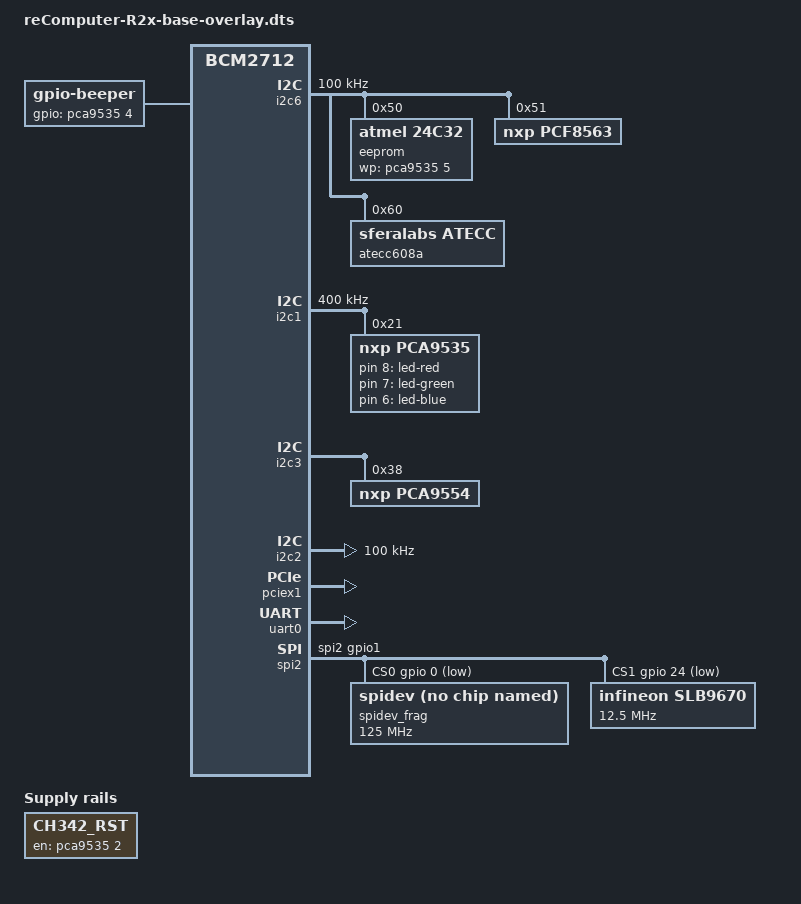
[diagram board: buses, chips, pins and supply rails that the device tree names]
/dts-v1/;
/plugin/;

/* #include "dt-bindings/gpio/gpio.h" */

/ {
    compatible = "brcm,bcm2712";

    fragment@0 {
        target-path="/";
        __overlay__ {
            hardware = "reComputer 2.x";
        };
    };

    fragment@1 {
        target = <&i2c6>;
        __overlay__ {
            status = "okay";
            pinctrl-0 = <&rp1_i2c6_38_39>;
            pinctrl-names = "default";
            clock-frequency = <100000>;
            #address-cells = <1>;
            #size-cells = <0>;

            eeprom@50 {
                compatible = "atmel,24c32";
                reg = <0x50>;
                wp-gpios = <&pca9535 5 0>;
            };

            pcf8563@51 {
                compatible = "nxp,pcf8563";
                reg = <0x51>;
                reset-source;
                /* 0 = 4096Hz, 1 = 64Hz, 2 = 1Hz, 3 = 1/60Hz */
                timer-frequency = <0x02>;
                /* Timeout count, max 255 min 2*/
                default-timeout =  <120>;
                min-hw-heartbeat-ms = <2000>;
            };

            atecc608a@60 {
                compatible = "sferalabs,atecc";
                reg = <0x60>;
                status = "okay";
			};
        };
    };

    fragment@2 {
        target = <&i2c1>;
        __overlay__ {
            status = "okay";
            pinctrl-0 = <&rp1_i2c1_10_11>;
            pinctrl-names = "default";
            clock-frequency = <400000>;
            #address-cells = <1>;
            #size-cells = <0>;

            pca9535: pca@21 {
                compatible = "nxp,pca9535";
                reg = <0x21>;
                status = "okay";

                gpio-controller;
                #gpio-cells = <2>;

                gpio-line-names =
                    "RS485_POWER_EN",
                    "CH344_RST",
                    "CH342_RST",
                    "TPM_RST",
                    "Buzzer_EN",
                    "EEP_WP",
                    "USER_LED_B",
                    "USER_LED_G",
                    "USER_LED_R",
                    "LoRaWAN_SX1302_RST",
                    "LoRaWAN_SX1262_RST",
                    "LoRaWAN_SX1262_CS",
                    "DO_4",
                    "DO_3",
                    "DO_2",
                    "DO_1"
                ;

                RS485_POWER_EN {
                    gpios = <&pca9535 0 0>;
                    output-high;
                    line-name = "RS485_POWER_EN";
                };

                CH344_RST {
                    gpios = <&pca9535 1 0>;
                    output-high;
                    line-name = "CH344_RST";
                };

                CH342_RST {
                    gpios = <&pca9535 2 0>;
                    output-high;
                    line-name = "CH342_RST";
                };

                TPM_RST {
                    gpios = <&pca9535 3 0>;
                    output-high;
                    line-name = "TPM_RST";
                };

                Buzzer_EN {
                    gpios = <&pca9535 4 0>;
                    output-low;
                    line-name = "Buzzer_EN";
                };

                EEP_WP {
                    gpios = <&pca9535 5 0>;
                    output-high;
                    line-name = "EEP_WP";
                };

                USER_LED_B {
                    gpios = <&pca9535 6 0>;
                    output-high;
                    line-name = "USER_LED_B";
                };

                USER_LED_G {
                    gpios = <&pca9535 7 0>;
                    output-high;
                    line-name = "USER_LED_G";
                };

                USER_LED_R {
                    gpios = <&pca9535 8 0>;
                    output-high;
                    line-name = "USER_LED_R";
                };

                LoRaWAN_SX1302_RST {
                    gpios = <&pca9535 9 0>;
                    output-low;
                    line-name = "LoRaWAN_SX1302_RST";
                };

                LoRaWAN_SX1262_RST {
                    gpios = <&pca9535 10 0>;
                    output-low;
                    line-name = "LoRaWAN_SX1262_RST";
                };

                LoRaWAN_SX1262_CS {
                    gpios = <&pca9535 11 0>;
                    output-low;
                    line-name = "LoRaWAN_SX1262_CS";
                };

                DO_4 {
                    gpios = <&pca9535 12 0>;
                    output-low;
                    line-name = "DO_4";
                };

                DO_3 {
                    gpios = <&pca9535 13 0>;
                    output-low;
                    line-name = "DO_3";
                };

                DO_2 {
                    gpios = <&pca9535 14 0>;
                    output-low;
                    line-name = "DO_2";
                };

                DO_1 {
                    gpios = <&pca9535 15 0>;
                    output-low;
                    line-name = "DO_1";
                };
            };
        };
    };

    fragment@3 {
        target = <&i2c3>;
        __overlay__ {
            status = "okay";
            pinctrl-0 = <&rp1_i2c3_22_23>;
            pinctrl-names = "default";
            #address-cells = <1>;
            #size-cells = <0>;

            pca9554: pca@38 {
                compatible = "nxp,pca9554";
                reg = <0x38>;
                status = "okay";

                gpio-controller;
                #gpio-cells = <2>;

                gpio-line-names =
                    "M2B_POWER_OFF",
                    "M2B_W_DISABLE1",
                    "M2B_DPR_3V3",
                    "M2B_W_DISABLE2",
                    "SIM_MUX_SEL",
                    "485_1_120R_EN",
                    "M2B_PCIe_Reset_3V3",
                    "485_2_120R_EN"
                ;

                M2B_POWER_OFF {
                    gpios = <&pca9554 0 0>;
                    output-high;
                    line-name = "M2B_POWER_OFF";
                };

                M2B_W_DISABLE1 {
                    gpios = <&pca9554 1 0>;
                    output-low;
                    line-name = "M2B_W_DISABLE1";
                };

                M2B_DPR_3V3 {
                    gpios = <&pca9554 2 0>;
                    output-high;
                    line-name = "M2B_DPR_3V3";
                };

                M2B_W_DISABLE2 {
                    gpios = <&pca9554 3 0>;
                    output-high;
                    line-name = "M2B_W_DISABLE2";
                };

                SIM_MUX_SEL {
                    gpios = <&pca9554 4 0>;
                    output-high;
                    line-name = "SIM_MUX_SEL";
                };

                485_1_120R_EN {
                    gpios = <&pca9554 5 0>;
                    output-low;
                    line-name = "485_1_120R_EN";
                };

                M2B_PCIe_Reset_3V3 {
                    gpios = <&pca9554 6 0>;
                    output-low;
                    line-name = "M2B_PCIe_Reset_3V3";
                };

                485_2_120R_EN {
                    gpios = <&pca9554 7 0>;
                    output-low;
                    line-name = "485_2_120R_EN";
                };
            };
        };
    };

    fragment@4 {
        target = <&i2c2>;
        __overlay__ {
            status = "okay";
            pinctrl-0 = <&rp1_i2c2_12_13>;
            pinctrl-names = "default";
            clock-frequency = <100000>;
        };
    };

    fragment@5 {
        target-path="/";
        __overlay__ {
            beeper: beeper {
                compatible = "gpio-beeper";
                gpios = <&pca9535 4 0>;
                status = "okay";
            };
        };
    };

    fragment@6 {
        target = <&leds>;
        __overlay__ {
            compatible = "gpio-leds";
            led_red: led_red {
                label = "led-red";
                linux,default-trigger = "default-off";
                gpios = <&pca9535 8 0>;
                default-state = "off";
            };

            led_green: led_green {
                label = "led-green";
                linux,default-trigger = "default-off";
                gpios = <&pca9535 7 0>;
                default-state = "off";
            };

            led_blue: led_blue {
                label = "led-blue";
                linux,default-trigger = "default-off";
                gpios = <&pca9535 6 0>;
                default-state = "off";
            };
        };
    };

    fragment@7 {
        target = <&pciex1>;
        __overlay__ {
            max-link-speed = <3>;
            status = "okay";
        };
    };

    fragment@8 {
        target = <&uart0>;
        __overlay__ {
            status = "okay";
        };
    };

    fragment@9 {
        target = <&gpio>;
        __overlay__ {
            spi2_cs_pins: spi2_cs_pins {
                functions = "spi2";
                pins = "gpio0", "gpio24";
                bias-pull-up;
            };
        };
    };

    fragment@10 {
        target = <&spi2>;
        __overlay__ {
            status = "okay";
            pinctrl-names = "default";
            pinctrl-0 = <&rp1_spi2_gpio1 &spi2_cs_pins>;
            cs-gpios = <&gpio 0 1>, <&gpio 24 1>;

            #address-cells = <1>;
            #size-cells = <0>;

            spidev_frag: spidev@0 {
                compatible = "spidev";
                reg = <0>;      /* CE0 */
                #address-cells = <1>;
                #size-cells = <0>;
                spi-max-frequency = <125000000>;
                status = "okay";
            };

            slb9670: slb9670@1 {
                compatible = "infineon,slb9670";
                reg = <1>;  /* CE1 */
                #address-cells = <1>;
                #size-cells = <0>;
                /* spi-max-frequency = <32000000>; */
                spi-max-frequency = <12500000>;
                status = "okay";
            };
        };
    };

    fragment@11 {
        target-path = "/";
        __overlay__ {
            CH342_RST: CH342_RST{
                compatible = "regulator-fixed";
                regulator-name = "CH342_RST";
                gpio = <&pca9535 2 0>;
                enable-active-high;
                regulator-boot-on;
                regulator-always-on;
                status = "okay";
            };
        };
    };
};
